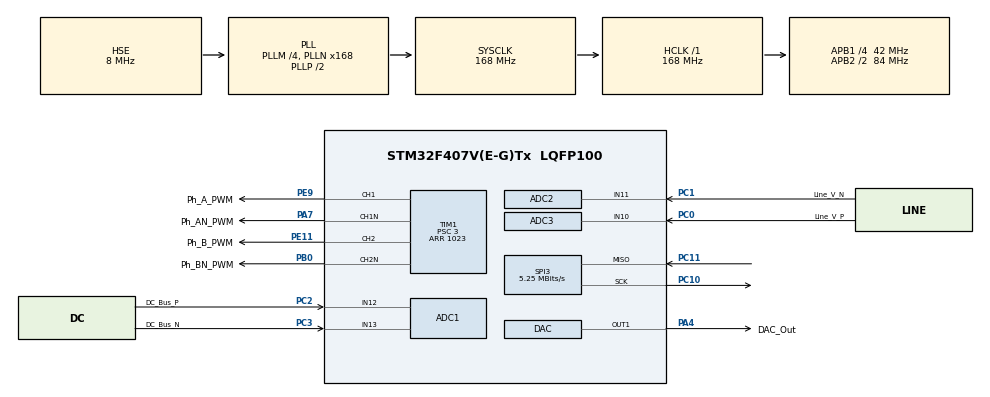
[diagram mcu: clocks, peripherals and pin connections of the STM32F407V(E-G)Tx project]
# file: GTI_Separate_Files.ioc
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ADC1.Channel-0\#ChannelRegularConversion=ADC_CHANNEL_12
ADC1.Channel-1\#ChannelRegularConversion=ADC_CHANNEL_13
ADC1.ContinuousConvMode=ENABLE
ADC1.DMAContinuousRequests=ENABLE
ADC1.EOCSelection=ADC_EOC_SEQ_CONV
ADC1.EnableAnalogWatchDog=false
ADC1.NbrOfConversion=2
ADC1.NbrOfConversionFlag=1
ADC1.Rank-0\#ChannelRegularConversion=1
ADC1.Rank-1\#ChannelRegularConversion=2
ADC1.SamplingTime-0\#ChannelRegularConversion=ADC_SAMPLETIME_144CYCLES
ADC1.SamplingTime-1\#ChannelRegularConversion=ADC_SAMPLETIME_144CYCLES
ADC1.ScanConvMode=ENABLE
ADC1.master=1
ADC2.Channel-0\#ChannelRegularConversion=ADC_CHANNEL_11
ADC2.ContinuousConvMode=ENABLE
ADC2.DMAContinuousRequests=ENABLE
ADC2.NbrOfConversionFlag=1
ADC2.Rank-0\#ChannelRegularConversion=1
ADC2.SamplingTime-0\#ChannelRegularConversion=ADC_SAMPLETIME_144CYCLES
ADC3.Channel-0\#ChannelRegularConversion=ADC_CHANNEL_10
ADC3.ContinuousConvMode=ENABLE
ADC3.DMAContinuousRequests=ENABLE
ADC3.NbrOfConversion=1
ADC3.NbrOfConversionFlag=1
ADC3.Rank-0\#ChannelRegularConversion=1
ADC3.SamplingTime-0\#ChannelRegularConversion=ADC_SAMPLETIME_144CYCLES
ADC3.ScanConvMode=DISABLE
Dma.ADC1.3.Direction=DMA_PERIPH_TO_MEMORY
Dma.ADC1.3.FIFOMode=DMA_FIFOMODE_DISABLE
Dma.ADC1.3.Instance=DMA2_Stream0
Dma.ADC1.3.MemDataAlignment=DMA_MDATAALIGN_HALFWORD
Dma.ADC1.3.MemInc=DMA_MINC_ENABLE
Dma.ADC1.3.Mode=DMA_CIRCULAR
Dma.ADC1.3.PeriphDataAlignment=DMA_PDATAALIGN_HALFWORD
Dma.ADC1.3.PeriphInc=DMA_PINC_DISABLE
Dma.ADC1.3.Priority=DMA_PRIORITY_LOW
Dma.ADC2.2.Direction=DMA_PERIPH_TO_MEMORY
Dma.ADC2.2.FIFOMode=DMA_FIFOMODE_DISABLE
Dma.ADC2.2.Instance=DMA2_Stream2
Dma.ADC2.2.MemDataAlignment=DMA_MDATAALIGN_HALFWORD
Dma.ADC2.2.MemInc=DMA_MINC_ENABLE
Dma.ADC2.2.Mode=DMA_CIRCULAR
Dma.ADC2.2.PeriphDataAlignment=DMA_PDATAALIGN_HALFWORD
Dma.ADC2.2.PeriphInc=DMA_PINC_DISABLE
Dma.ADC2.2.Priority=DMA_PRIORITY_MEDIUM
Dma.ADC3.0.Direction=DMA_PERIPH_TO_MEMORY
Dma.ADC3.0.FIFOMode=DMA_FIFOMODE_DISABLE
Dma.ADC3.0.Instance=DMA2_Stream1
Dma.ADC3.0.MemDataAlignment=DMA_MDATAALIGN_HALFWORD
Dma.ADC3.0.MemInc=DMA_MINC_ENABLE
Dma.ADC3.0.Mode=DMA_CIRCULAR
Dma.ADC3.0.PeriphDataAlignment=DMA_PDATAALIGN_HALFWORD
Dma.ADC3.0.PeriphInc=DMA_PINC_DISABLE
Dma.ADC3.0.Priority=DMA_PRIORITY_MEDIUM
Dma.Request0=ADC3
Dma.Request1=SPI3_RX
Dma.Request2=ADC2
Dma.Request3=ADC1
Dma.SPI3_RX.1.Direction=DMA_PERIPH_TO_MEMORY
Dma.SPI3_RX.1.FIFOMode=DMA_FIFOMODE_DISABLE
Dma.SPI3_RX.1.Instance=DMA1_Stream0
Dma.SPI3_RX.1.MemDataAlignment=DMA_MDATAALIGN_BYTE
Dma.SPI3_RX.1.MemInc=DMA_MINC_ENABLE
Dma.SPI3_RX.1.Mode=DMA_CIRCULAR
Dma.SPI3_RX.1.PeriphDataAlignment=DMA_PDATAALIGN_BYTE
Dma.SPI3_RX.1.PeriphInc=DMA_PINC_DISABLE
Dma.SPI3_RX.1.Priority=DMA_PRIORITY_HIGH
Mcu.Family=STM32F4
Mcu.Name=STM32F407V(E-G)Tx
Mcu.Package=LQFP100
NVIC.DMA1_Stream0_IRQn=true\:0\:0\:false\:false\:true\:false\:true
NVIC.DMA2_Stream0_IRQn=true\:0\:0\:false\:false\:true\:false\:true
NVIC.DMA2_Stream1_IRQn=true\:0\:0\:false\:false\:true\:false\:true
NVIC.DMA2_Stream2_IRQn=true\:0\:0\:false\:false\:true\:false\:true
NVIC.PriorityGroup=NVIC_PRIORITYGROUP_4
NVIC.TIM1_BRK_TIM9_IRQn=true\:0\:0\:false\:false\:true\:true\:true
NVIC.TIM1_TRG_COM_TIM11_IRQn=true\:0\:0\:false\:false\:true\:true\:true
NVIC.TIM1_UP_TIM10_IRQn=true\:0\:0\:false\:false\:true\:true\:true
PA4.GPIO_Label=DAC_Out
PA4.Signal=COMP_DAC1_group
PA7.GPIO_Label=Ph_AN_PWM
PA7.GPIO_Speed=GPIO_SPEED_FREQ_VERY_HIGH
PA7.Mode=PWM Generation1 CH1 CH1N
PA7.Signal=TIM1_CH1N
PB0.GPIO_Label=Ph_BN_PWM
PB0.GPIO_Speed=GPIO_SPEED_FREQ_VERY_HIGH
PB0.Mode=PWM Generation2 CH2 CH2N
PB0.Signal=TIM1_CH2N
PC0.GPIO_Label=Line_V_P
PC0.Signal=ADCx_IN10
PC1.GPIO_Label=Line_V_N
PC1.Signal=ADCx_IN11
PC10.Mode=RX_Only_Simplex_Unidirect_Master
PC10.Signal=SPI3_SCK
PC11.Mode=RX_Only_Simplex_Unidirect_Master
PC11.Signal=SPI3_MISO
PC2.GPIO_Label=DC_Bus_P
PC2.Signal=ADCx_IN12
PC3.GPIO_Label=DC_Bus_N
PC3.Signal=ADCx_IN13
PE11.GPIO_Label=Ph_B_PWM
PE11.GPIO_Speed=GPIO_SPEED_FREQ_VERY_HIGH
PE11.Signal=S_TIM1_CH2
PE9.GPIO_Label=Ph_A_PWM
PE9.GPIO_Speed=GPIO_SPEED_FREQ_VERY_HIGH
PE9.Signal=S_TIM1_CH1
PH0-OSC_IN.Mode=HSE-External-Oscillator
PH0-OSC_IN.Signal=RCC_OSC_IN
PH1-OSC_OUT.Mode=HSE-External-Oscillator
PH1-OSC_OUT.Signal=RCC_OSC_OUT
ProjectManager.HeapSize=0x200
ProjectManager.StackSize=0x400
ProjectManager.TargetToolchain=MDK-ARM V5
RCC.48MHZClocksFreq_Value=84000000
RCC.AHBFreq_Value=168000000
RCC.APB1CLKDivider=RCC_HCLK_DIV4
RCC.APB1Freq_Value=42000000
RCC.APB1TimFreq_Value=84000000
RCC.APB2CLKDivider=RCC_HCLK_DIV2
RCC.APB2Freq_Value=84000000
RCC.APB2TimFreq_Value=168000000
RCC.CortexFreq_Value=168000000
RCC.HCLKFreq_Value=168000000
RCC.HSE_VALUE=8000000
RCC.HSI_VALUE=16000000
RCC.LSE_VALUE=32768
RCC.PLLM=4
RCC.PLLN=168
RCC.PLLSourceVirtual=RCC_PLLSOURCE_HSE
RCC.SYSCLKFreq_VALUE=168000000
RCC.SYSCLKSource=RCC_SYSCLKSOURCE_PLLCLK
RCC.VCOOutputFreq_Value=336000000
SH.ADCx_IN10.0=ADC3_IN10,IN10
SH.ADCx_IN11.0=ADC2_IN11,IN11
SH.ADCx_IN12.0=ADC1_IN12,IN12
SH.ADCx_IN13.0=ADC1_IN13,IN13
SH.COMP_DAC1_group.0=DAC_OUT1,DAC_OUT1
SH.S_TIM1_CH1.0=TIM1_CH1,PWM Generation1 CH1 CH1N
SH.S_TIM1_CH2.0=TIM1_CH2,PWM Generation2 CH2 CH2N
SPI3.BaudRatePrescaler=SPI_BAUDRATEPRESCALER_8
SPI3.CLKPhase=SPI_PHASE_2EDGE
SPI3.CalculateBaudRate=5.25 MBits/s
SPI3.DataSize=SPI_DATASIZE_8BIT
SPI3.Direction=SPI_DIRECTION_2LINES_RXONLY
SPI3.FirstBit=SPI_FIRSTBIT_MSB
SPI3.Mode=SPI_MODE_MASTER
SPI3.VirtualType=VM_MASTER
TIM1.BreakState=TIM_BREAK_DISABLE
TIM1.Channel-PWM\ Generation1\ CH1\ CH1N=TIM_CHANNEL_1
TIM1.Channel-PWM\ Generation2\ CH2\ CH2N=TIM_CHANNEL_2
TIM1.DeadTime=0
TIM1.OCNIdleState_1=TIM_OCNIDLESTATE_RESET
TIM1.OCNIdleState_2=TIM_OCNIDLESTATE_RESET
TIM1.OCNPolarity_1=TIM_OCNPOLARITY_HIGH
TIM1.OCNPolarity_2=TIM_OCNPOLARITY_HIGH
TIM1.Period=1023
TIM1.Prescaler=3
TIM10.Period=16799
TIM11.Period=13125
TIM9.Period=999
TIM9.Prescaler=167
VP_TIM10_VS_ClockSourceINT.Mode=Enable_Timer
VP_TIM11_VS_ClockSourceINT.Mode=Enable_Timer
VP_TIM1_VS_ClockSourceINT.Mode=Internal
VP_TIM9_VS_ClockSourceINT.Mode=Internal
board=custom

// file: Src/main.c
/* USER CODE BEGIN Header */
/**
  ******************************************************************************
  * @file           : main.c
  * @brief          : Main program body
  ******************************************************************************
  * @attention
  *
  * <h2><center>&copy; Copyright (c) 2021 STMicroelectronics.
  * All rights reserved.</center></h2>
  *
  * This software component is licensed by ST under BSD 3-Clause license,
  * the "License"; You may not use this file except in compliance with the
  * License. You may obtain a copy of the License at:
  *                        opensource.org/licenses/BSD-3-Clause
  *
  ******************************************************************************
  */
/* USER CODE END Header */

#include "main.h"
#include "adc.h"
#include "dac.h"
#include "dma.h"
#include "spi.h"
#include "tim.h"
#include "gpio.h"

/* USER CODE BEGIN Includes */
#include "support.h"
#include "PID.h"
/* USER CODE END Includes */

/* USER CODE BEGIN PD */
#define					ADC_OFFSET_LINE						253																			// Corrects the offset from the ISO224
#define					ADC_OFFSET_BUS						33
#define         SINE_STEPS          			256                         						// Number of steps to build our sinewave in

#define					PLL_Kp										1.0e-5f																	// PID parameters for our PLL tracking control
#define					PLL_Ki										2.0e-6f
#define					PLL_Kd										0.0f
#define					PLL_ADJ_RATE_LIMIT				500.0f
#define					PLL_PERIOD								7.8e-5f																	// 1 / (50 * 256) seconds
#define					SINE_STEP_PERIOD					13125																		// Ticks between incrementing our LO (Local Osc) index for 50Hz sine

#define					I_OUT_Kp									0.018f																	// PID parameters for our current output controller
#define					I_OUT_Ki									25.0f
#define					I_OUT_Kd									0.0f
#define					I_OUT_Limit								975.0f
#define					I_OUT_PERIOD							1.0e-4f
#define					I_OUT_LOOP_PERIOD					16800																		// Ticks between I_OUT_PID iterations (100us)

#define					DUTY_LIMIT								975
#define					FEEDFORWARD_K							865																			// 875 is the value that minimises the difference +3 for equilibrium
#define					TARGET_OUTPUT_CURRENT			-100.0f
#define 				START_UP_CURRENT					-10.0f
#define					CURRENT_RAMP_RATE					0.01f

#define					GAIN_SIGMA_DELTA					256
#define					OFFSET_SIGMA_DELTA				32768

#define					RMS_UPPER_LIMIT						80000																		// Actually, we don't bother with the root...
#define					RMS_LOWER_LIMIT						65000
#define					FREQ_UPPER_LIMIT					130																			// Corrosponds to +/- 0.5Hz
#define					FREQ_LOWER_LIMIT				 -130
#define					V_SUPPLY_MAXIMUM					450
#define					V_SUPPLY_MINIMUM					350																			// The minimum voltage needs to be above the rectified grid voltage
#define					CURRENT_MAX								28000
#define					PID_I_ERROR_TOLERATED			1500
#define					CURRENT_REJOIN_THRESHOLD	30000

#define					RUNNING_MASK_CNT					1000																		// Once running, if out of whack for > 100ms, we shut off
#define					RESTART_MASK_CNT			 	 -1000																		// Monitor mains Vrms for 1sec before considering re-engaging
#define					GRID_BAD_FAIL_RATE				10																			//
#define					GRID_OK										0

#define 				CONSTRAIN(x,lower,upper)	((x)<(lower)?(lower):((x)>(upper)?(upper):(x)))
/* USER CODE END PD */

/* USER CODE BEGIN PV */
float Sine_LookupF[256] =
{0.00,6.28,12.56,18.83,25.09,31.34,37.56,43.77,49.94,56.09,62.20,68.28,74.31,80.30,86.24,92.13,
97.97,103.74,109.45,115.10,120.68,126.18,131.61,136.96,142.23,147.41,152.50,157.50,162.40,167.21,171.92,176.52,
181.02,185.41,189.68,193.85,197.89,201.82,205.62,209.30,212.86,216.28,219.58,222.74,225.77,228.67,231.42,234.04,
236.51,238.85,241.04,243.08,244.98,246.73,248.33,249.78,251.08,252.23,253.23,254.07,254.77,255.31,255.69,255.92,
256.00,255.92,255.69,255.31,254.77,254.07,253.23,252.23,251.08,249.78,248.33,246.73,244.98,243.08,241.04,238.85,
236.51,234.04,231.42,228.67,225.77,222.74,219.58,216.28,212.86,209.30,205.62,201.82,197.89,193.85,189.68,185.41,
181.02,176.52,171.92,167.21,162.40,157.50,152.50,147.41,142.23,136.96,131.61,126.18,120.68,115.10,109.45,103.74,
97.97,92.13,86.24,80.30,74.31,68.28,62.20,56.09,49.94,43.77,37.56,31.34,25.09,18.83,12.56,6.28,

0.00,-6.28,-12.56,-18.83,-25.09,-31.34,-37.56,-43.77,-49.94,-56.09,-62.20,-68.28,-74.31,-80.30,-86.24,-92.13,
-97.97,-103.74,-109.45,-115.10,-120.68,-126.18,-131.61,-136.96,-142.23,-147.41,-152.50,-157.50,-162.40,-167.21,-171.92,-176.52,
-181.02,-185.41,-189.68,-193.85,-197.89,-201.82,-205.62,-209.30,-212.86,-216.28,-219.58,-222.74,-225.77,-228.67,-231.42,-234.04,
-236.51,-238.85,-241.04,-243.08,-244.98,-246.73,-248.33,-249.78,-251.08,-252.23,-253.23,-254.07,-254.77,-255.31,-255.69,-255.92,
-256.00,-255.92,-255.69,-255.31,-254.77,-254.07,-253.23,-252.23,-251.08,-249.78,-248.33,-246.73,-244.98,-243.08,-241.04,-238.85,
-236.51,-234.04,-231.42,-228.67,-225.77,-222.74,-219.58,-216.28,-212.86,-209.30,-205.62,-201.82,-197.89,-193.85,-189.68,-185.41,
-181.02,-176.52,-171.92,-167.21,-162.40,-157.50,-152.50,-147.41,-142.23,-136.96,-131.61,-126.18,-120.68,-115.10,-109.45,-103.74,
-97.97,-92.13,-86.24,-80.30,-74.31,-68.28,-62.20,-56.09,-49.94,-43.77,-37.56,-31.34,-25.09,-18.83,-12.56,-6.28};

static uint8_t								PDM_Raw_Data[64];																		// 2 * 32 buffers. Decimate by 256. 5.25Mhz -> 20.5KHz
static volatile uint8_t				Data_to_Process = 0;

static volatile int32_t				Measured_I;																					// Stores our most up to date output current reading 16bit value
static volatile float					Measured_I_f;

static int16_t								ADC_Raw_Bus_V[5];																		// Stores ADC readings for the DC_Bus voltages
static int16_t								ADC_Raw_Line_V[5];																	// Likewise stores ADC readings for the AC Line voltage
static int16_t								ADC_Bus_PN[10];
static int16_t								ADC_Line_P[5];
static int16_t								ADC_Line_N[5];
static int32_t 								V_Bus, V_Line;

static PIDControl 						I_OUT_PID;
static PIDControl							PLL_PID;

static float									I_Output_Demand = TARGET_OUTPUT_CURRENT;

static uint16_t								Sine_Index = 0;

static volatile int32_t				Mains_Good_Bad_Counter = RESTART_MASK_CNT;
static volatile int8_t				HB_DISABLED = true, REQUEST_JOIN = false;

static volatile uint32_t 			Mains_RMS, I_Out_RMS_Error;
static volatile int16_t 			Freq_Offset;
/* USER CODE END PV */

void SystemClock_Config(void);
/* USER CODE BEGIN PFP */
void HAL_TIM_PeriodElapsedCallback(TIM_HandleTypeDef *htim);
void HAL_SPI_RxHalfCpltCallback(SPI_HandleTypeDef *hspi);
void HAL_SPI_RxCpltCallback(SPI_HandleTypeDef *hspi);
void HB_Disable(void);
void HB_Enable(void);
/* USER CODE END PFP */

int main(void)
{

  /* MCU Configuration--------------------------------------------------------*/

  /* Reset of all peripherals, Initializes the Flash interface and the Systick. */
  HAL_Init();

  /* Configure the system clock */
  SystemClock_Config();

  /* Initialize all configured peripherals */
  MX_GPIO_Init();
  MX_DMA_Init();
  MX_TIM1_Init();
  MX_ADC3_Init();
  MX_TIM9_Init();
  MX_DAC_Init();
  MX_SPI3_Init();
  MX_TIM10_Init();
  MX_TIM11_Init();
  MX_ADC1_Init();
  MX_ADC2_Init();
  /* USER CODE BEGIN 2 */

	// 1) Start the ADC engines - These continuously replenish these circular buffers with fresh ADC readings
		HAL_ADC_Start_DMA(&hadc1, (uint32_t*)ADC_Bus_PN, 10);
		HAL_ADC_Start_DMA(&hadc2, (uint32_t*)ADC_Line_N, 5);
		HAL_ADC_Start_DMA(&hadc3, (uint32_t*)ADC_Line_P, 5);

	// 2) Configure our PID parameters
		PIDInit(&I_OUT_PID, I_OUT_Kp, I_OUT_Ki, I_OUT_Kd, I_OUT_PERIOD, -I_OUT_Limit, I_OUT_Limit, AUTOMATIC, DIRECT);
		PIDInit(&PLL_PID, PLL_Kp, PLL_Ki, PLL_Kd, PLL_PERIOD, -PLL_ADJ_RATE_LIMIT, PLL_ADJ_RATE_LIMIT, AUTOMATIC, DIRECT);
		PIDSetpointSet(&PLL_PID, 0.0);

	// 3) Start receiving PDM from the AMC1306. This gets processed in 32 byte blocks as a double buffer system
		HAL_SPI_Receive_DMA(&hspi3, PDM_Raw_Data, 64);

	// 4) Start our DAC and our timers
		HAL_DAC_Start(&hdac, DAC_CHANNEL_1);
		HAL_TIM_Base_Start_IT(&htim9);
		HAL_TIM_Base_Start_IT(&htim10);
		HAL_TIM_Base_Start_IT(&htim11);

  /* USER CODE END 2 */

  /* Infinite loop */
  /* USER CODE BEGIN WHILE */
  while (1)
  {
		if(Data_to_Process)																														// When a buffer is filled this is set (to either 32 or 64)
		{
			static int32_t I_1, I_2, I_3, D_1, D_2, D_3;
			static int32_t Previous_Input, Previous_D_1, Previous_D_2;

			uint8_t x;
			uint8_t Stop_Byte_Adr = Data_to_Process;
			uint8_t Start_Byte_Adr = Stop_Byte_Adr - 32;

			Data_to_Process = 0;																												// Clear the flag now we've started processing

			for(uint8_t byte_index = Start_Byte_Adr; byte_index < Stop_Byte_Adr; byte_index++)	{
				x = (PDM_Raw_Data[byte_index] >> 7) & 1;
				I_1 = I_1 + x; I_2 = I_2 + I_1;	I_3 = I_3 + I_2;
				x = (PDM_Raw_Data[byte_index] >> 6) & 1;
				I_1 = I_1 + x; I_2 = I_2 + I_1;	I_3 = I_3 + I_2;
				x = (PDM_Raw_Data[byte_index] >> 5) & 1;
				I_1 = I_1 + x; I_2 = I_2 + I_1; I_3 = I_3 + I_2;
				x = (PDM_Raw_Data[byte_index] >> 4) & 1;
				I_1 = I_1 + x; I_2 = I_2 + I_1; I_3 = I_3 + I_2;
				x = (PDM_Raw_Data[byte_index] >> 3) & 1;
				I_1 = I_1 + x; I_2 = I_2 + I_1; I_3 = I_3 + I_2;
				x = (PDM_Raw_Data[byte_index] >> 2) & 1;
				I_1 = I_1 + x; I_2 = I_2 + I_1; I_3 = I_3 + I_2;
				x = (PDM_Raw_Data[byte_index] >> 1) & 1;
				I_1 = I_1 + x; I_2 = I_2 + I_1; I_3 = I_3 + I_2;
				x = (PDM_Raw_Data[byte_index] >> 0) & 1;
				I_1 = I_1 + x; I_2 = I_2 + I_1; I_3 = I_3 + I_2;
			}

			D_1 = I_3 - Previous_Input;
			Previous_Input = I_3;

			D_2 = D_1 - Previous_D_1;
			Previous_D_1 = D_1;

			D_3 = D_2 - Previous_D_2;
			Previous_D_2 = D_2;

			Measured_I = OFFSET_SIGMA_DELTA - (D_3 / GAIN_SIGMA_DELTA);
			Measured_I_f = (float)Measured_I;
		}

		// Process incoming ADC Data
		ADC_Raw_Bus_V[0] = ADC_Bus_PN[0] - ADC_Bus_PN[1];
		ADC_Raw_Bus_V[1] = ADC_Bus_PN[2] - ADC_Bus_PN[3];
		ADC_Raw_Bus_V[2] = ADC_Bus_PN[4] - ADC_Bus_PN[5];
		ADC_Raw_Bus_V[3] = ADC_Bus_PN[6] - ADC_Bus_PN[7];
		ADC_Raw_Bus_V[4] = ADC_Bus_PN[8] - ADC_Bus_PN[9];

		V_Bus = Get_Median(ADC_Raw_Bus_V, 5, ADC_OFFSET_BUS);

		ADC_Raw_Line_V[0] = ADC_Line_P[0] - ADC_Line_N[0];
		ADC_Raw_Line_V[1] = ADC_Line_P[1] - ADC_Line_N[1];
		ADC_Raw_Line_V[2] = ADC_Line_P[2] - ADC_Line_N[2];
		ADC_Raw_Line_V[3] = ADC_Line_P[3] - ADC_Line_N[3];
		ADC_Raw_Line_V[4] = ADC_Line_P[4] - ADC_Line_N[4];

		V_Line = Get_Median(ADC_Raw_Line_V, 5, ADC_OFFSET_LINE);

    /* USER CODE END WHILE */

  }
}

void SystemClock_Config(void)
{
  RCC_OscInitTypeDef RCC_OscInitStruct = {0};
  RCC_ClkInitTypeDef RCC_ClkInitStruct = {0};

  /** Configure the main internal regulator output voltage
  */
  __HAL_RCC_PWR_CLK_ENABLE();
  __HAL_PWR_VOLTAGESCALING_CONFIG(PWR_REGULATOR_VOLTAGE_SCALE1);
  /** Initializes the CPU, AHB and APB busses clocks
  */
  RCC_OscInitStruct.OscillatorType = RCC_OSCILLATORTYPE_HSE;
  RCC_OscInitStruct.HSEState = RCC_HSE_ON;
  RCC_OscInitStruct.PLL.PLLState = RCC_PLL_ON;
  RCC_OscInitStruct.PLL.PLLSource = RCC_PLLSOURCE_HSE;
  RCC_OscInitStruct.PLL.PLLM = 4;
  RCC_OscInitStruct.PLL.PLLN = 168;
  RCC_OscInitStruct.PLL.PLLP = RCC_PLLP_DIV2;
  RCC_OscInitStruct.PLL.PLLQ = 4;
  if (HAL_RCC_OscConfig(&RCC_OscInitStruct) != HAL_OK)
  {
    Error_Handler();
  }
  /** Initializes the CPU, AHB and APB busses clocks
  */
  RCC_ClkInitStruct.ClockType = RCC_CLOCKTYPE_HCLK|RCC_CLOCKTYPE_SYSCLK
                              |RCC_CLOCKTYPE_PCLK1|RCC_CLOCKTYPE_PCLK2;
  RCC_ClkInitStruct.SYSCLKSource = RCC_SYSCLKSOURCE_PLLCLK;
  RCC_ClkInitStruct.AHBCLKDivider = RCC_SYSCLK_DIV1;
  RCC_ClkInitStruct.APB1CLKDivider = RCC_HCLK_DIV4;
  RCC_ClkInitStruct.APB2CLKDivider = RCC_HCLK_DIV2;

  if (HAL_RCC_ClockConfig(&RCC_ClkInitStruct, FLASH_LATENCY_5) != HAL_OK)
  {
    Error_Handler();
  }
}

/* USER CODE BEGIN 4 */
void HB_Disable() {
	HAL_TIM_PWM_Stop(&htim1, TIM_CHANNEL_1);
	HAL_TIMEx_PWMN_Stop(&htim1, TIM_CHANNEL_1);
	HAL_TIM_PWM_Stop(&htim1, TIM_CHANNEL_2);
	HAL_TIMEx_PWMN_Stop(&htim1, TIM_CHANNEL_2);

	HB_DISABLED = true;
}

void HB_Enable() {
	// Start our PWM driver which uses Timer1 to power our H-bridge. Both channels start with Duty = 0
	I_OUT_PID.iTerm = 0;
	I_OUT_PID.setpoint = 0;

	HAL_TIM_PWM_Start(&htim1, TIM_CHANNEL_1);
	HAL_TIMEx_PWMN_Start(&htim1, TIM_CHANNEL_1);
	HAL_TIM_PWM_Start(&htim1, TIM_CHANNEL_2);
	HAL_TIMEx_PWMN_Start(&htim1, TIM_CHANNEL_2);

	HB_DISABLED = false;
}

void HAL_SPI_RxHalfCpltCallback(SPI_HandleTypeDef *hspi) {
	Data_to_Process = 32;
}

void HAL_SPI_RxCpltCallback(SPI_HandleTypeDef *hspi) {
	Data_to_Process = 64;
}

void HAL_TIM_PeriodElapsedCallback(TIM_HandleTypeDef *htim)	{
	// -----------------------------------------------------------------------------------------------------------------------------------
  // #################### Runs every 1ms to perform our grid/DC Bus checks etc for our anti-islanding ##################################
	// -----------------------------------------------------------------------------------------------------------------------------------
	if (htim == &htim9)
  {
			Mains_RMS = Integrate_Mains_RMS(V_Line);																			// Update our mains RMS measurement
			Freq_Offset = (int16_t)PLL_PID.output;																				// Get our current phase shift between our LO and the grid

			if(Mains_RMS > RMS_UPPER_LIMIT || Mains_RMS < RMS_LOWER_LIMIT)								// If mains RMS voltage whacky
				Mains_Good_Bad_Counter -= GRID_BAD_FAIL_RATE;

			if(Freq_Offset > FREQ_UPPER_LIMIT || Freq_Offset < FREQ_LOWER_LIMIT) 					// If mains phase is whacky
				Mains_Good_Bad_Counter -= GRID_BAD_FAIL_RATE;

			if(V_Bus < V_SUPPLY_MINIMUM || V_Bus > V_SUPPLY_MAXIMUM) 											// If our supply voltage is too low/high cutout immediately
				Mains_Good_Bad_Counter = RESTART_MASK_CNT;

			if(HB_DISABLED == false)
			{
				if(Measured_I > CURRENT_MAX || Measured_I < -CURRENT_MAX)										// If our measured current is too large, cutout.
					Mains_Good_Bad_Counter -= GRID_BAD_FAIL_RATE;

				if(I_Out_RMS_Error > PID_I_ERROR_TOLERATED)																	// If our current control is not adaquate
					Mains_Good_Bad_Counter -= GRID_BAD_FAIL_RATE;
			}
	// -----------------------------------------------------------------------------------------------------------------------------------
			if(Mains_Good_Bad_Counter < RUNNING_MASK_CNT)																	// Slowly zero any error counts
				Mains_Good_Bad_Counter++;

			if(Mains_Good_Bad_Counter < RESTART_MASK_CNT)																	// Limit the minimum the Good_Bad counter can go
				Mains_Good_Bad_Counter = RESTART_MASK_CNT;

			if(Mains_Good_Bad_Counter < GRID_OK && HB_DISABLED == false)	{								// If our metrics have been whacky for too long stop output
				HB_Disable();																																// This puts the H-bridge into a high impedance state
				Mains_Good_Bad_Counter = RESTART_MASK_CNT;
			}

			if(Mains_Good_Bad_Counter == RUNNING_MASK_CNT && HB_DISABLED == true)	{				// With our output idle, if the grid has normalised, restart
				I_Output_Demand = START_UP_CURRENT;
				REQUEST_JOIN = true;
			}

			if(I_Output_Demand > TARGET_OUTPUT_CURRENT)																		// Slowly ramp our output current to setpoint
				I_Output_Demand -= CURRENT_RAMP_RATE;
	}

	// -----------------------------------------------------------------------------------------------------------------------------------
  // ######### Runs every 100us to measure the instananeous current output and adjust our PWM duty to reach setpoint current ###########
	// -----------------------------------------------------------------------------------------------------------------------------------
  if (htim == &htim10)
  {
		if(REQUEST_JOIN == true)	{																											// Rejoin at a ZCP if not outputing yet
			if(Sine_Index == 0)	{
				REQUEST_JOIN = false;
				HB_Enable();
			}
		}

		int32_t Duty_Feedforward = (FEEDFORWARD_K * V_Line) / V_Bus;

		// Whilst our current sensor is shut down just use the feedforward controller
		if(Measured_I > CURRENT_REJOIN_THRESHOLD)	{
			I_OUT_PID.output = 0;
			I_OUT_PID.error = 0;
		}
		else	{
			PIDSetpointSet(&I_OUT_PID, Sine_LookupF[Sine_Index] * I_Output_Demand);
			PIDInputSet(&I_OUT_PID, Measured_I_f);
			PIDCompute(&I_OUT_PID);
		}

		// Add together our Feedforward and PID parts
		int16_t Duty_Cycle = (int16_t)Duty_Feedforward + (int16_t)PIDOutputGet(&I_OUT_PID);

		Duty_Cycle = CONSTRAIN(Duty_Cycle, -DUTY_LIMIT, DUTY_LIMIT);

		if(Duty_Cycle >= 0)	{
			htim1.Instance->CCR1 = Duty_Cycle;
			htim1.Instance->CCR2 = 0;
		}
		else	{
			htim1.Instance->CCR1 = 0;
			htim1.Instance->CCR2 = -Duty_Cycle;
		}

		// Write to the DAC so we can debug
		uint32_t DAC_Data = (uint32_t)((Measured_I/16) + 2048);
		//uint32_t DAC_Data = (uint32_t)(V_Bus + 0);
		HAL_DAC_SetValue(&hdac, DAC_CHANNEL_1, DAC_ALIGN_12B_R, DAC_Data);
  }

	// -----------------------------------------------------------------------------------------------------------------------------------
	// ################### Keeps our local oscillator synchronised to the grid by implimenting a PLL with PI controller ##################
	// -----------------------------------------------------------------------------------------------------------------------------------
	if (htim == &htim11)
	{
		uint16_t Sine_Index_PS 	= (Sine_Index + 64) % 256;														// Our lookup index for a 90 degree phase shifted LO value
		int32_t Signal_Multiple = (int32_t)Sine_LookupF[Sine_Index_PS] * V_Line;			// Multiply the phase shifted LO value with our current Line sample
		PLL_PID.input 					= (float)Integral(Signal_Multiple);										// Integrate this Multiple over the last 1 period

		PIDCompute(&PLL_PID);																													// Plug result in a PI controller to maintain 0 phase shift
		TIM11->ARR 							= SINE_STEP_PERIOD - (int32_t)PLL_PID.output;					// adjust LO frequency (step period) to synchronise to mains phase
		if(++Sine_Index >= SINE_STEPS)	{Sine_Index = 0;}															// Increment our LO index and rollover if need be

		I_Out_RMS_Error 				= Integrate_I_Error((int32_t)I_OUT_PID.error);
	}
}
/* USER CODE END 4 */

void Error_Handler(void)
{
}

/************************ (C) COPYRIGHT STMicroelectronics *****END OF FILE****/
